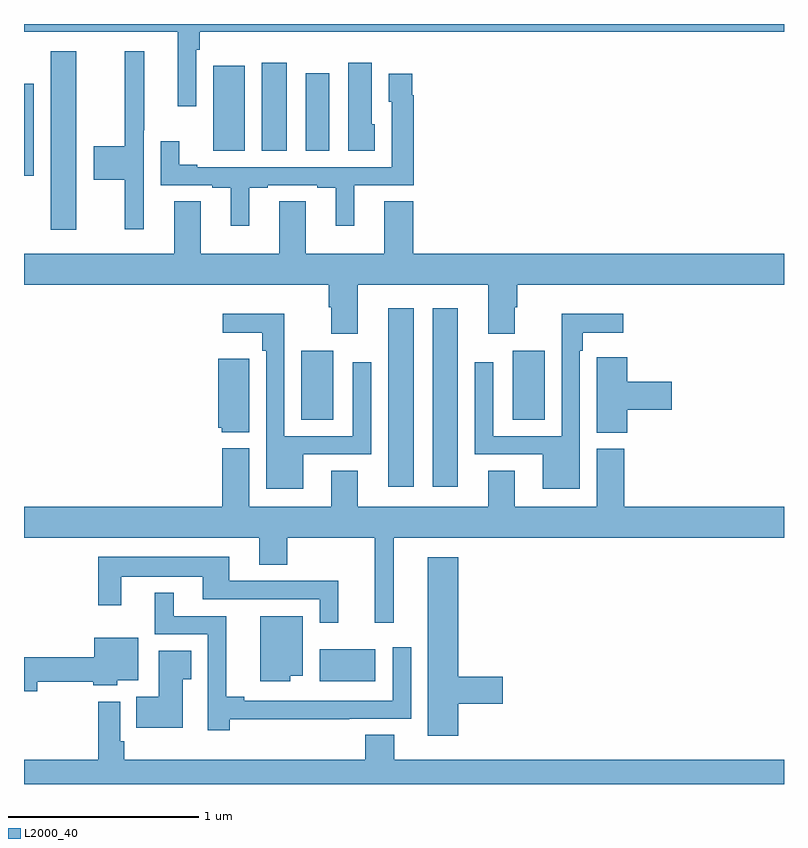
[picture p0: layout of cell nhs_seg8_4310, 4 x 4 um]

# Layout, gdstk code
import gdstk
lib = gdstk.Library(unit=1e-6, precision=1e-09)
def R(c, l, rs):  # rectangles x0, y0, x1, y1
    for r in rs: c.add(gdstk.rectangle(r[:2], r[2:], *l))
def P(c, l, *ps):  # polygons
    for p in ps: c.add(gdstk.Polygon(p, *l))
L2000_40 = (2000, 40)

nhs_seg8_4310 = lib.new_cell('nhs_seg8_4310')
R(nhs_seg8_4310, L2000_40, [(376.556,1086.44,376.849,1086.61), (376.916,1087.464,377.05,1088.404), (377.15,1087.464,377.284,1088.404), (376.46,1087.816,376.627,1088.179), (377.573,1087.816,377.74,1088.179), (375.14,1088.817,375.274,1089.757), (375,1089.102,375.051,1089.585), (375.995,1089.232,376.162,1089.679), (376.25,1089.232,376.384,1089.697), (376.484,1089.232,376.606,1089.64)])
P(nhs_seg8_4310, L2000_40, [(375.906,1089.764),(375.926,1089.764),(375.926,1089.86),(379,1089.86),(379,1089.9),(375,1089.9),(375,1089.86),(375.809,1089.86),(375.809,1089.468),(375.906,1089.468)],
  [(375.63,1089.34),(375.632,1089.34),(375.632,1089.757),(375.529,1089.757),(375.529,1089.257),(375.366,1089.257),(375.366,1089.079),(375.529,1089.079),(375.529,1088.82),(375.63,1088.82)],
  [(376.846,1089.372),(376.831,1089.372),(376.831,1089.697),(376.706,1089.697),(376.706,1089.232),(376.846,1089.232)],
  [(376.186,1089.039),(376.282,1089.039),(376.282,1089.051),(376.544,1089.051),(376.544,1089.039),(376.64,1089.039),(376.64,1088.838),(376.738,1088.838),(376.738,1089.051),(377.051,1089.051),(377.051,1089.524),(377.044,1089.524),(377.044,1089.637),(376.919,1089.637),(376.919,1089.492),(376.935,1089.492),(376.935,1089.147),(375.913,1089.147),(375.913,1089.16),(375.817,1089.16),(375.817,1089.283),(375.72,1089.283),(375.72,1089.051),(375.992,1089.051),(375.992,1089.039),(376.088,1089.039),(376.088,1088.838),(376.186,1088.838)],
  [(376.756,1088.528),(377.444,1088.528),(377.444,1088.271),(377.584,1088.271),(377.584,1088.408),(377.597,1088.408),(377.597,1088.528),(379,1088.528),(379,1088.692),(377.048,1088.692),(377.048,1088.966),(376.895,1088.966),(376.895,1088.692),(376.483,1088.692),(376.483,1088.966),(376.343,1088.966),(376.343,1088.692),(375.931,1088.692),(375.931,1088.966),(375.791,1088.966),(375.791,1088.692),(375,1088.692),(375,1088.528),(376.604,1088.528),(376.604,1088.408),(376.616,1088.408),(376.616,1088.271),(376.756,1088.271)],
  [(377.925,1088.18),(377.941,1088.18),(377.941,1088.276),(378.154,1088.276),(378.154,1088.374),(377.829,1088.374),(377.829,1087.731),(377.469,1087.731),(377.469,1088.119),(377.373,1088.119),(377.373,1087.635),(377.729,1087.635),(377.729,1087.454),(377.925,1087.454)],
  [(376.471,1087.635),(376.827,1087.635),(376.827,1088.119),(376.731,1088.119),(376.731,1087.731),(376.371,1087.731),(376.371,1088.374),(376.047,1088.374),(376.047,1088.276),(376.255,1088.276),(376.255,1088.18),(376.275,1088.18),(376.275,1087.454),(376.471,1087.454)],
  [(378.176,1087.871),(378.409,1087.871),(378.409,1088.018),(378.176,1088.018),(378.176,1088.146),(378.015,1088.146),(378.015,1088.033),(378.014,1088.033),(378.014,1087.75),(378.176,1087.75)],
  [(376.186,1088.137),(376.022,1088.137),(376.022,1087.776),(376.041,1087.776),(376.041,1087.751),(376.186,1087.751)],
  [(376.946,1087.196),(379,1087.196),(379,1087.36),(378.158,1087.36),(378.158,1087.665),(378.014,1087.665),(378.014,1087.36),(377.584,1087.36),(377.584,1087.55),(377.444,1087.55),(377.444,1087.36),(376.756,1087.36),(376.756,1087.55),(376.616,1087.55),(376.616,1087.36),(376.186,1087.36),(376.186,1087.666),(376.043,1087.666),(376.043,1087.36),(375,1087.36),(375,1087.196),(376.238,1087.196),(376.238,1087.054),(376.386,1087.054),(376.386,1087.196),(376.847,1087.196),(376.847,1086.75),(376.946,1086.75)],
  [(376.655,1086.969),(376.081,1086.969),(376.081,1087.096),(375.39,1087.096),(375.39,1086.84),(375.511,1086.84),(375.511,1086.992),(375.941,1086.992),(375.941,1086.873),(376.557,1086.873),(376.557,1086.75),(376.655,1086.75)],
  [(377.285,1086.322),(377.521,1086.322),(377.521,1086.464),(377.285,1086.464),(377.285,1087.093),(377.126,1087.093),(377.126,1086.153),(377.285,1086.153)],
  [(376.082,1086.242),(376.712,1086.242),(376.712,1086.243),(377.037,1086.243),(377.037,1086.619),(376.941,1086.619),(376.941,1086.339),(376.159,1086.339),(376.159,1086.359),(376.064,1086.359),(376.064,1086.783),(375.787,1086.783),(375.787,1086.907),(375.689,1086.907),(375.689,1086.687),(375.966,1086.687),(375.966,1086.183),(376.082,1086.183)],
  [(376.402,1086.47),(376.468,1086.47),(376.468,1086.784),(376.244,1086.784),(376.244,1086.44),(376.402,1086.44)],
  [(375.07,1086.438),(375.364,1086.438),(375.364,1086.419),(375.492,1086.419),(375.492,1086.446),(375.601,1086.446),(375.601,1086.67),(375.371,1086.67),(375.371,1086.566),(375,1086.566),(375,1086.388),(375.07,1086.388)],
  [(375.835,1086.451),(375.881,1086.451),(375.881,1086.602),(375.71,1086.602),(375.71,1086.358),(375.592,1086.358),(375.592,1086.197),(375.835,1086.197)],
  [(379,1086.028),(376.948,1086.028),(376.948,1086.158),(376.796,1086.158),(376.796,1086.028),(375.527,1086.028),(375.527,1086.124),(375.507,1086.124),(375.507,1086.334),(375.391,1086.334),(375.391,1086.028),(375,1086.028),(375,1085.9),(379,1085.9)])

lib.write_gds('nhs_seg8_4310.gds')
